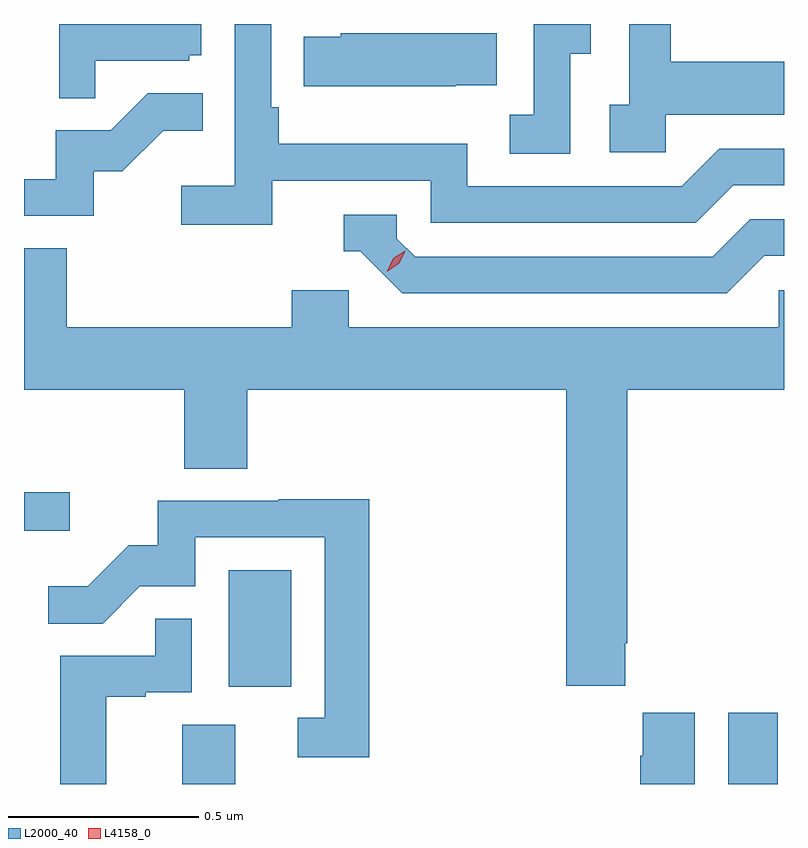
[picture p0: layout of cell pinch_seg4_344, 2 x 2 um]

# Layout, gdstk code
import gdstk
lib = gdstk.Library(unit=1e-6, precision=1e-09)
def R(c, l, rs):  # rectangles x0, y0, x1, y1
    for r in rs: c.add(gdstk.rectangle(r[:2], r[2:], *l))
def P(c, l, *ps):  # polygons
    for p in ps: c.add(gdstk.Polygon(p, *l))
L2000_40 = (2000, 40)
L4158_0 = (4158, 0)

pinch_seg4_344 = lib.new_cell('pinch_seg4_344')
R(pinch_seg4_344, L2000_40, [(986.639,809.102,986.779,809.258), (988.076,809.102,988.207,809.29), (986.762,809.358,986.926,809.665), (986.223,809.768,986.344,809.87)])
P(pinch_seg4_344, L2000_40, [(986.411,811.005),(986.658,811.005),(986.658,811.02),(986.689,811.02),(986.689,811.102),(986.427,811.102),(986.427,811.101),(986.316,811.101),(986.316,810.907),(986.411,810.907)],
  [(986.876,810.69),(987.294,810.69),(987.294,810.579),(987.991,810.579),(988.09,810.678),(988.223,810.678),(988.223,810.774),(988.053,810.774),(987.954,810.675),(987.39,810.675),(987.39,810.787),(986.894,810.787),(986.894,810.883),(986.874,810.883),(986.874,811.102),(986.778,811.102),(986.778,810.676),(986.637,810.676),(986.637,810.574),(986.876,810.574)],
  [(987.912,810.863),(988.223,810.863),(988.223,811.003),(987.925,811.003),(987.925,811.102),(987.816,811.102),(987.816,810.89),(987.765,810.89),(987.765,810.765),(987.912,810.765)],
  [(987.66,811.024),(987.715,811.024),(987.715,811.102),(987.564,811.102),(987.564,810.863),(987.501,810.863),(987.501,810.76),(987.66,810.76)],
  [(987.359,810.941),(987.467,810.941),(987.467,811.078),(987.057,811.078),(987.057,811.068),(986.959,811.068),(986.959,810.938),(987.359,810.938)],
  [(986.406,810.714),(986.482,810.714),(986.589,810.821),(986.693,810.821),(986.693,810.92),(986.549,810.92),(986.451,810.822),(986.307,810.822),(986.307,810.693),(986.223,810.693),(986.223,810.597),(986.406,810.597)],
  [(988.171,810.492),(988.223,810.492),(988.223,810.588),(988.134,810.588),(988.035,810.489),(987.252,810.489),(987.204,810.537),(987.204,810.6),(987.065,810.6),(987.065,810.504),(987.108,810.504),(987.219,810.393),(988.072,810.393)],
  [(987.805,809.473),(987.81,809.473),(987.81,810.14),(988.223,810.14),(988.223,810.402),(988.209,810.402),(988.209,810.304),(987.078,810.304),(987.078,810.402),(986.927,810.402),(986.927,810.304),(986.336,810.304),(986.336,810.512),(986.223,810.512),(986.223,810.14),(986.645,810.14),(986.645,809.932),(986.81,809.932),(986.81,810.14),(987.65,810.14),(987.65,809.361),(987.805,809.361)],
  [(987.131,809.852),(986.893,809.852),(986.893,809.847),(986.575,809.847),(986.575,809.73),(986.498,809.73),(986.391,809.623),(986.287,809.623),(986.287,809.524),(986.43,809.524),(986.528,809.622),(986.673,809.622),(986.673,809.751),(987.015,809.751),(987.015,809.277),(986.943,809.277),(986.943,809.172),(987.131,809.172)],
  [(986.44,809.331),(986.543,809.331),(986.543,809.343),(986.664,809.343),(986.664,809.537),(986.569,809.537),(986.569,809.439),(986.318,809.439),(986.318,809.102),(986.44,809.102)],
  [(987.988,809.29),(987.851,809.29),(987.851,809.177),(987.845,809.177),(987.845,809.102),(987.988,809.102)])
P(pinch_seg4_344, L4158_0, [(987.179,810.452),(987.179,810.452),(987.195,810.485),(987.226,810.505),(987.226,810.505),(987.226,810.504),(987.21,810.472),(987.18,810.452)])

lib.write_gds('pinch_seg4_344.gds')
